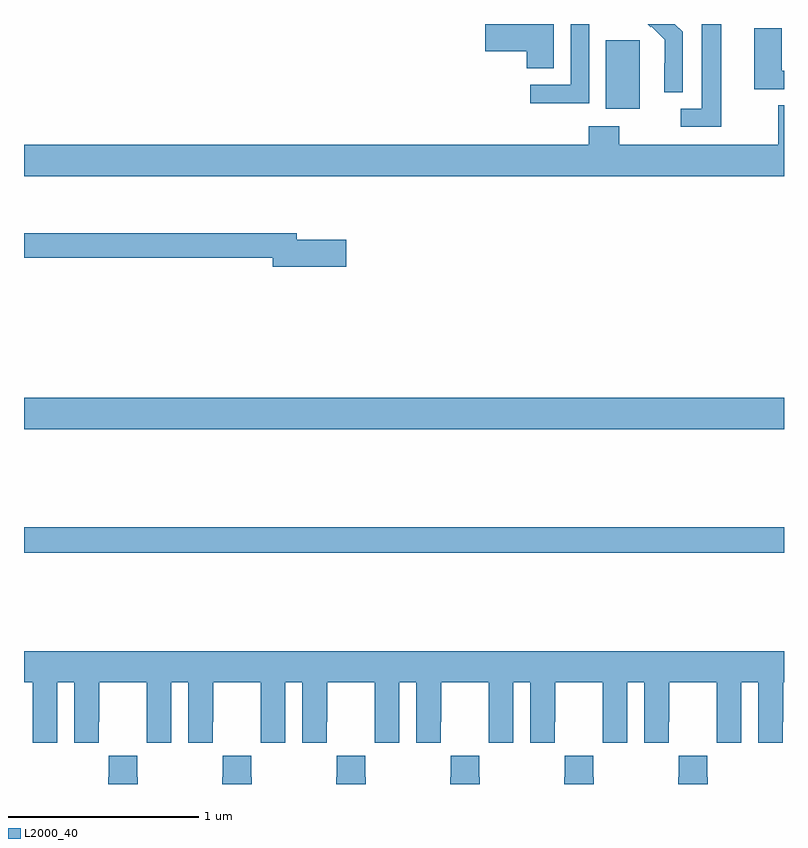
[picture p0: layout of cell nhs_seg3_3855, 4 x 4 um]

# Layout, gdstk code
import gdstk
lib = gdstk.Library(unit=1e-6, precision=1e-09)
def R(c, l, rs):  # rectangles x0, y0, x1, y1
    for r in rs: c.add(gdstk.rectangle(r[:2], r[2:], *l))
def P(c, l, *ps):  # polygons
    for p in ps: c.add(gdstk.Polygon(p, *l))
L2000_40 = (2000, 40)

nhs_seg3_3855 = lib.new_cell('nhs_seg3_3855')
R(nhs_seg3_3855, L2000_40, [(311,681.616,315,681.752), (311,682.268,315,682.432), (314.063,683.954,314.242,684.315)])
P(nhs_seg3_3855, L2000_40, [(314.466,684.358),(314.424,684.4),(314.282,684.4),(314.298,684.384),(314.301,684.387),(314.372,684.317),(314.372,684.194),(314.37,684.194),(314.37,684.04),(314.466,684.04)],
  [(313.974,684.4),(313.878,684.4),(313.878,684.081),(313.665,684.081),(313.665,683.983),(313.974,683.983)],
  [(313.789,684.4),(313.428,684.4),(313.428,684.257),(313.646,684.257),(313.646,684.166),(313.789,684.166)],
  [(314.671,684.4),(314.567,684.4),(314.567,683.955),(314.457,683.955),(314.457,683.859),(314.671,683.859)],
  [(315,684.153),(314.988,684.153),(314.988,684.377),(314.843,684.377),(314.843,684.057),(315,684.057)],
  [(315,683.972),(314.969,683.972),(314.969,683.764),(314.133,683.764),(314.133,683.863),(313.973,683.863),(313.973,683.764),(311,683.764),(311,683.6),(315,683.6)],
  [(312.697,683.265),(312.436,683.265),(312.436,683.299),(311,683.299),(311,683.17),(312.308,683.17),(312.308,683.123),(312.697,683.123)],
  [(311.176,680.936),(311.264,680.936),(311.264,680.616),(311.394,680.616),(311.394,680.728),(311.395,680.728),(311.395,680.936),(311.645,680.936),(311.645,680.728),(311.646,680.728),(311.646,680.616),(311.776,680.616),(311.776,680.936),(311.864,680.936),(311.864,680.616),(311.994,680.616),(311.994,680.728),(311.995,680.728),(311.995,680.936),(312.245,680.936),(312.245,680.728),(312.246,680.728),(312.246,680.616),(312.376,680.616),(312.376,680.936),(312.464,680.936),(312.464,680.616),(312.594,680.616),(312.594,680.728),(312.595,680.728),(312.595,680.936),(312.845,680.936),(312.845,680.728),(312.846,680.728),(312.846,680.616),(312.976,680.616),(312.976,680.936),(313.064,680.936),(313.064,680.616),(313.194,680.616),(313.194,680.728),(313.195,680.728),(313.195,680.936),(313.445,680.936),(313.445,680.728),(313.446,680.728),(313.446,680.616),(313.576,680.616),(313.576,680.936),(313.664,680.936),(313.664,680.616),(313.794,680.616),(313.794,680.728),(313.795,680.728),(313.795,680.936),(314.045,680.936),(314.045,680.728),(314.046,680.728),(314.046,680.616),(314.176,680.616),(314.176,680.936),(314.264,680.936),(314.264,680.616),(314.394,680.616),(314.394,680.728),(314.395,680.728),(314.395,680.936),(314.645,680.936),(314.645,680.728),(314.646,680.728),(314.646,680.616),(314.776,680.616),(314.776,680.936),(314.864,680.936),(314.864,680.616),(314.994,680.616),(314.994,680.728),(314.995,680.728),(314.995,680.936),(315,680.936),(315,681.1),(311,681.1),(311,680.936),(311.045,680.936),(311.045,680.728),(311.046,680.728),(311.046,680.616),(311.176,680.616)],
  [(314.598,680.435),(314.595,680.435),(314.595,680.548),(314.445,680.548),(314.445,680.435),(314.443,680.435),(314.443,680.4),(314.598,680.4)],
  [(311.598,680.435),(311.595,680.435),(311.595,680.548),(311.445,680.548),(311.445,680.435),(311.443,680.435),(311.443,680.4),(311.598,680.4)],
  [(312.198,680.435),(312.195,680.435),(312.195,680.548),(312.045,680.548),(312.045,680.435),(312.043,680.435),(312.043,680.4),(312.198,680.4)],
  [(312.798,680.435),(312.795,680.435),(312.795,680.548),(312.645,680.548),(312.645,680.435),(312.643,680.435),(312.643,680.4),(312.798,680.4)],
  [(313.398,680.435),(313.395,680.435),(313.395,680.548),(313.245,680.548),(313.245,680.435),(313.243,680.435),(313.243,680.4),(313.398,680.4)],
  [(313.998,680.435),(313.995,680.435),(313.995,680.548),(313.845,680.548),(313.845,680.435),(313.843,680.435),(313.843,680.4),(313.998,680.4)])

lib.write_gds('nhs_seg3_3855.gds')
